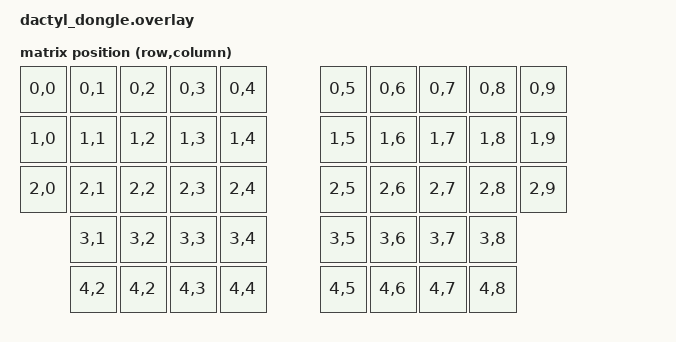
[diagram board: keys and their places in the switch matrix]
#include <dt-bindings/zmk/matrix_transform.h>
#include "my_keyboard-layouts.dtsi"

&physical_layout0 {
    transform = <&default_transform>;
};

/ {
    chosen {
        zmk,kscan = &mock_kscan;
        zmk,physical-layout = &physical_layout0;
    };
};
/ {
    chosen {
        zmk,kscan = &mock_kscan;
    };

    mock_kscan: mock_kscan_0 {
        compatible = "zmk,kscan-mock";
        columns = <0>;
        rows = <0>;
        events = <0>;
    };
};

/ {
    default_transform: keymap_transform0 {
        compatible = "zmk,matrix-transform";
        columns = <10>;
        rows = <5>;
        map = <
        //  LKey 1 |LKey 2 |LKey 3 |LKey 4 |LKey 5           RKey 1 |RKey 2 |RKey 3 |RKey 4 |RKey 5          
        //  LKey 6 |LKey 7 |LKey 8 |LKey 9 |LKey 10          RKey 6 |RKey 7 |RKey 8 |RKey 9 |RKey 10     
        //  LKey 11 |LKey 12 |LKey 13 |LKey 14 |LKey 15      RKey 11 |RKey 12 |RKey 13 |RKey 14 |RKey 15      
		//  LKey 16 |LKey 17 |LKey 18 |LKey 19       		 RKey 16 |RKey 17 |RKey 18 |RKey 19 	
		//  LKey 20 |LKey 21 |LKey 22 |LKey 23       		 RKey 20 |RKey 21 |RKey 22 |RKey 23 
		
            RC(0,0) RC(0,1) RC(0,2) RC(0,3) RC(0,4)          RC(0,5) RC(0,6) RC(0,7) RC(0,8) RC(0,9)
			RC(1,0) RC(1,1) RC(1,2) RC(1,3) RC(1,4)          RC(1,5) RC(1,6) RC(1,7) RC(1,8) RC(1,9)
			RC(2,0) RC(2,1) RC(2,2) RC(2,3) RC(2,4)          RC(2,5) RC(2,6) RC(2,7) RC(2,8) RC(2,9)
					RC(3,1) RC(3,2) RC(3,3) RC(3,4)          RC(3,5) RC(3,6) RC(3,7) RC(3,8) 
					RC(4,2) RC(4,2) RC(4,3) RC(4,4)          RC(4,5) RC(4,6) RC(4,7) RC(4,8) 	
        >;
    };
};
